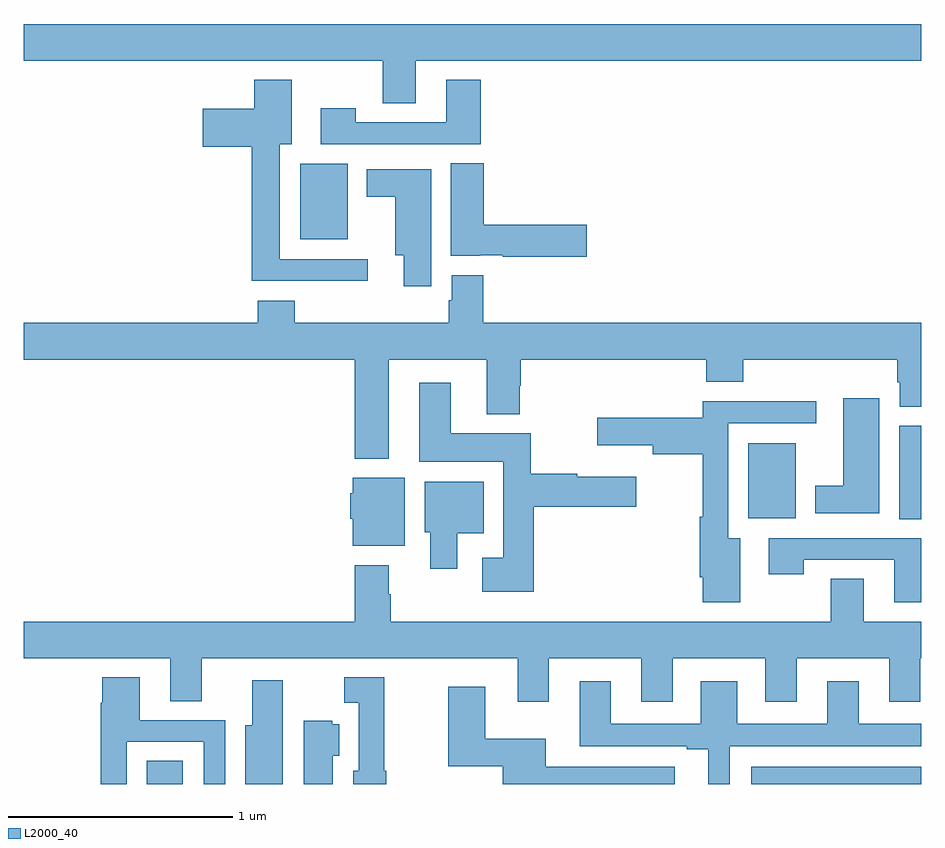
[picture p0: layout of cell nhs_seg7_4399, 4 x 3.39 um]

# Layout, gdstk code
import gdstk
lib = gdstk.Library(unit=1e-6, precision=1e-09)
def R(c, l, rs):  # rectangles x0, y0, x1, y1
    for r in rs: c.add(gdstk.rectangle(r[:2], r[2:], *l))
def P(c, l, *ps):  # polygons
    for p in ps: c.add(gdstk.Polygon(p, *l))
L2000_40 = (2000, 40)

nhs_seg7_4399 = lib.new_cell('nhs_seg7_4399')
R(nhs_seg7_4399, L2000_40, [(387.548,1056,387.709,1056.104), (390.242,1056,391,1056.078), (390.902,1057.18,391,1057.596), (390.23,1057.184,390.442,1057.519), (388.232,1058.429,388.444,1058.764)])
P(nhs_seg7_4399, L2000_40, [(388.747,1059.224),(391,1059.224),(391,1059.388),(387,1059.388),(387,1059.224),(388.6,1059.224),(388.6,1059.034),(388.747,1059.034)],
  [(389.036,1059.139),(388.883,1059.139),(388.883,1058.949),(388.479,1058.949),(388.479,1059.013),(388.323,1059.013),(388.323,1058.853),(389.036,1058.853)],
  [(388.534,1058.34),(388.141,1058.34),(388.141,1058.852),(388.195,1058.852),(388.195,1059.139),(388.028,1059.139),(388.028,1059.01),(387.798,1059.01),(387.798,1058.84),(388.016,1058.84),(388.016,1058.243),(388.534,1058.243)],
  [(389.509,1058.492),(389.051,1058.492),(389.051,1058.768),(388.904,1058.768),(388.904,1058.354),(389.034,1058.354),(389.034,1058.357),(389.134,1058.357),(389.134,1058.35),(389.509,1058.35)],
  [(388.816,1058.74),(388.529,1058.74),(388.529,1058.618),(388.655,1058.618),(388.655,1058.357),(388.694,1058.357),(388.694,1058.22),(388.816,1058.22)],
  [(388.627,1057.892),(389.063,1057.892),(389.063,1057.649),(389.211,1057.649),(389.211,1057.776),(389.216,1057.776),(389.216,1057.892),(390.041,1057.892),(390.041,1057.793),(390.206,1057.793),(390.206,1057.892),(390.893,1057.892),(390.893,1057.791),(390.905,1057.791),(390.905,1057.681),(391,1057.681),(391,1058.056),(389.048,1058.056),(389.048,1058.269),(388.907,1058.269),(388.907,1058.157),(388.895,1058.157),(388.895,1058.056),(388.208,1058.056),(388.208,1058.155),(388.043,1058.155),(388.043,1058.056),(387,1058.056),(387,1057.892),(388.475,1057.892),(388.475,1057.451),(388.627,1057.451)],
  [(389.273,1057.235),(389.731,1057.235),(389.731,1057.369),(389.468,1057.369),(389.468,1057.382),(389.26,1057.382),(389.26,1057.564),(388.903,1057.564),(388.903,1057.789),(388.763,1057.789),(388.763,1057.436),(389.138,1057.436),(389.138,1057.009),(389.043,1057.009),(389.043,1056.857),(389.273,1056.857)],
  [(390.814,1057.72),(390.653,1057.72),(390.653,1057.33),(390.527,1057.33),(390.527,1057.208),(390.814,1057.208)],
  [(390.193,1057.096),(390.139,1057.096),(390.139,1057.608),(390.532,1057.608),(390.532,1057.706),(390.026,1057.706),(390.026,1057.633),(389.556,1057.633),(389.556,1057.511),(389.804,1057.511),(389.804,1057.469),(390.026,1057.469),(390.026,1057.192),(390.014,1057.192),(390.014,1056.922),(390.026,1056.922),(390.026,1056.81),(390.193,1056.81)],
  [(388.699,1057.366),(388.466,1057.366),(388.466,1057.296),(388.454,1057.296),(388.454,1057.182),(388.466,1057.182),(388.466,1057.061),(388.699,1057.061)],
  [(388.933,1057.118),(389.05,1057.118),(389.05,1057.348),(388.787,1057.348),(388.787,1057.122),(388.811,1057.122),(388.811,1056.96),(388.933,1056.96)],
  [(391,1057.095),(390.321,1057.095),(390.321,1056.936),(390.477,1056.936),(390.477,1056.999),(390.881,1056.999),(390.881,1056.81),(391,1056.81)],
  [(389.341,1056.56),(389.753,1056.56),(389.753,1056.366),(389.893,1056.366),(389.893,1056.56),(390.305,1056.56),(390.305,1056.366),(390.445,1056.366),(390.445,1056.56),(390.857,1056.56),(390.857,1056.366),(390.997,1056.366),(390.997,1056.56),(391,1056.56),(391,1056.724),(390.745,1056.724),(390.745,1056.914),(390.598,1056.914),(390.598,1056.724),(388.635,1056.724),(388.635,1056.845),(388.627,1056.845),(388.627,1056.976),(388.475,1056.976),(388.475,1056.724),(387,1056.724),(387,1056.56),(387.653,1056.56),(387.653,1056.37),(387.793,1056.37),(387.793,1056.56),(389.201,1056.56),(389.201,1056.366),(389.341,1056.366)],
  [(387.459,1056.189),(387.801,1056.189),(387.801,1056),(387.897,1056),(387.897,1056.285),(387.517,1056.285),(387.517,1056.475),(387.35,1056.475),(387.35,1056.362),(387.343,1056.362),(387.343,1056),(387.459,1056)],
  [(388.615,1056.06),(388.607,1056.06),(388.607,1056.475),(388.428,1056.475),(388.428,1056.362),(388.493,1056.362),(388.493,1056.06),(388.469,1056.06),(388.469,1056),(388.615,1056)],
  [(388.153,1056.463),(388.019,1056.463),(388.019,1056.262),(387.986,1056.262),(387.986,1056),(388.153,1056)],
  [(390.147,1056.168),(391,1056.168),(391,1056.269),(390.721,1056.269),(390.721,1056.457),(390.581,1056.457),(390.581,1056.269),(390.181,1056.269),(390.181,1056.457),(390.017,1056.457),(390.017,1056.269),(389.617,1056.269),(389.617,1056.457),(389.477,1056.457),(389.477,1056.168),(389.954,1056.168),(389.954,1056.156),(390.05,1056.156),(390.05,1056),(390.147,1056)],
  [(389.902,1056.078),(389.326,1056.078),(389.326,1056.202),(389.056,1056.202),(389.056,1056.433),(388.891,1056.433),(388.891,1056.08),(389.135,1056.08),(389.135,1056),(389.902,1056)],
  [(388.378,1056.126),(388.405,1056.126),(388.405,1056.266),(388.374,1056.266),(388.374,1056.283),(388.247,1056.283),(388.247,1056),(388.378,1056)])

lib.write_gds('nhs_seg7_4399.gds')
